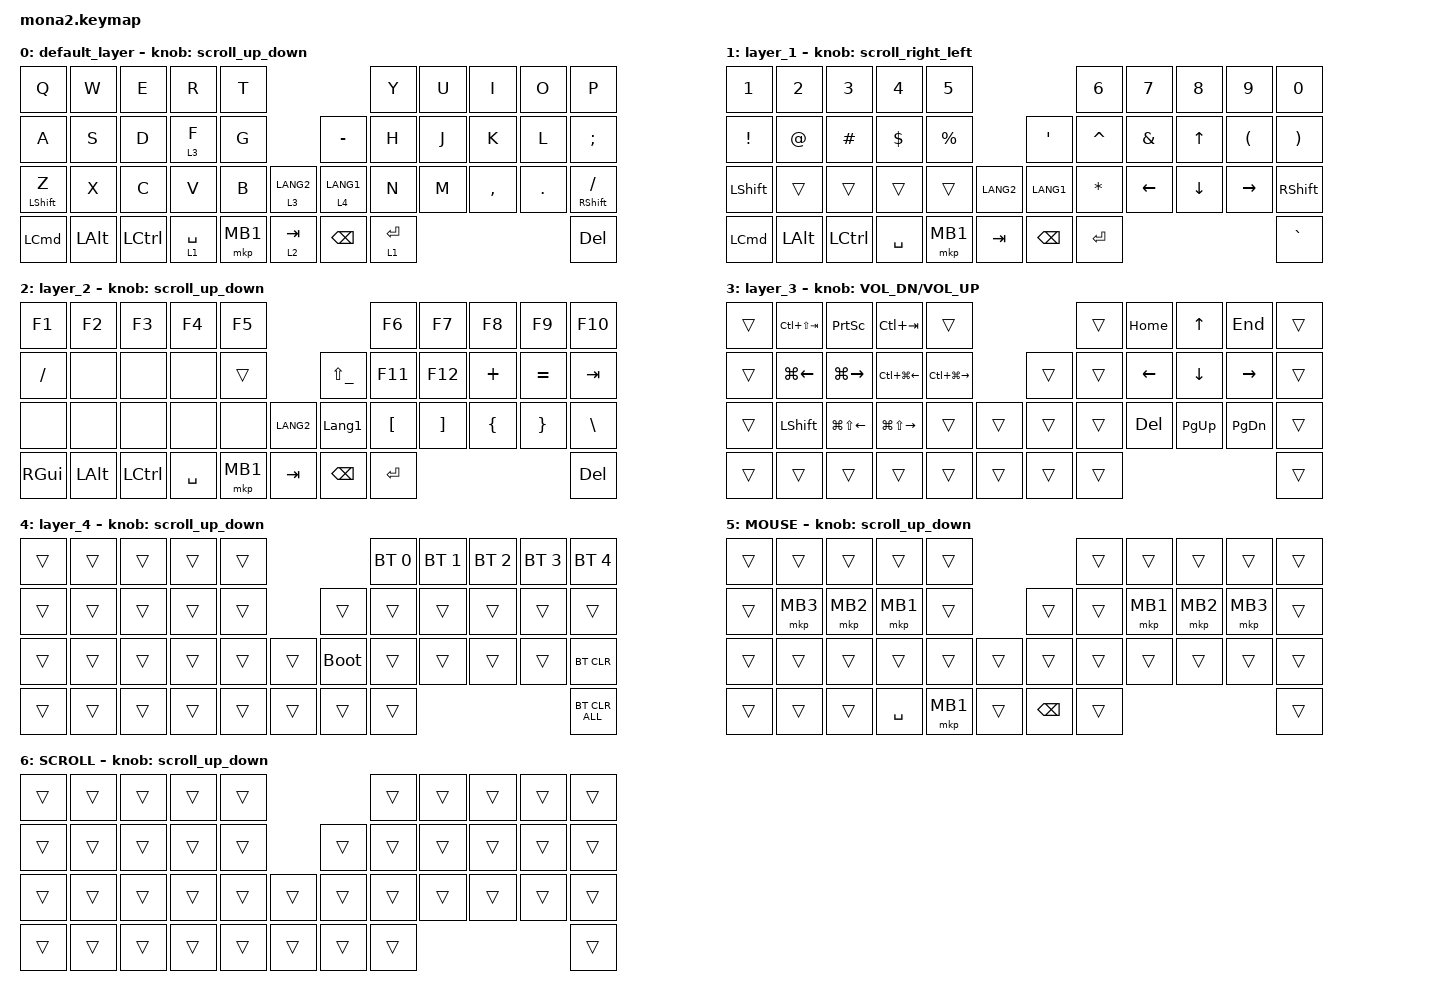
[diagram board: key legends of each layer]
#include <input/processors.dtsi>
#include <dt-bindings/zmk/input_transform.h>
#include <zephyr/dt-bindings/input/input-event-codes.h>
#include <behaviors.dtsi>
#include <dt-bindings/zmk/bt.h>
#include <dt-bindings/zmk/keys.h>
#include <dt-bindings/zmk/pointing.h>

#define ZMK_POINTING_DEFAULT_SCRL_VAL 100
#define MOUSE 5
#define SCROLL 6

&mt {
    flavor = "balanced";
    quick-tap-ms = <0>;
};

&lt {
    quick-tap-ms = <300>;
    flavor = "balanced";
};

/ {
    combos {
        compatible = "zmk,combos";

        layer4_ESC {
            bindings = <&kp ESC>;
            key-positions = <0 1>;
        };

        mb-2 {
            bindings = <&mkp MB2>;
            key-positions = <38 26>;
        };
    };

    macros {
        to_layer_0: to_layer_0 {
            compatible = "zmk,behavior-macro-one-param";
            #binding-cells = <1>;
            bindings = <&to 0 &macro_param_1to1 &kp MACRO_PLACEHOLDER>;
            label = "TO_LAYER_0";
        };
    };

    behaviors {
        lt_to_layer_0: lt_to_layer_0 {
            compatible = "zmk,behavior-hold-tap";
            label = "LAYER_TAP_TO_0";
            bindings = <&mo>, <&to_layer_0>;

            #binding-cells = <2>;
            tapping-term-ms = <200>;
        };

        scroll_up_down: mouse_wheel_up_down {
            compatible = "zmk,behavior-sensor-rotate";
            #sensor-binding-cells = <0>;
            bindings = <&msc SCRL_DOWN>, <&msc SCRL_UP>;

            tap-ms = <20>;
        };

        scroll_right_left: mouse_wheel_right_left {
            compatible = "zmk,behavior-sensor-rotate";
            #sensor-binding-cells = <0>;
            bindings = <&msc SCRL_LEFT>, <&msc SCRL_RIGHT>;

            tap-ms = <20>;
        };
    };

    keymap {
        compatible = "zmk,keymap";

        default_layer {
            bindings = <
&kp Q             &kp W         &kp E             &kp R        &kp T                                   &kp Y      &kp U  &kp I      &kp O    &kp P
&kp A             &kp S         &kp D             &lt 3 F      &kp G                    &kp MINUS      &kp H      &kp J  &kp K      &kp L    &kp SEMICOLON
&mt LEFT_SHIFT Z  &kp X         &kp C             &kp V        &kp B     &lt 3 LANG2    &lt 4 LANG1    &kp N      &kp M  &kp COMMA  &kp DOT  &mt RIGHT_SHIFT SLASH
&kp LEFT_COMMAND  &kp LEFT_ALT  &kp LEFT_CONTROL  &lt 1 SPACE  &mkp MB1  &lt 2 TAB      &kp BACKSPACE  &lt 1 RET                             &kp DELETE
            >;

            sensor-bindings = <&scroll_up_down>;
        };

        layer_1 {
            bindings = <
&kp NUMBER_1      &kp NUMBER_2  &kp NUMBER_3      &kp NUMBER_4  &kp NUMBER_5                              &kp NUMBER_6  &kp NUMBER_7   &kp NUMBER_8  &kp NUMBER_9          &kp NUMBER_0
&kp EXCLAMATION   &kp AT        &kp HASH          &kp DOLLAR    &kp PERCENT                &kp SQT        &kp CARET     &kp AMPERSAND  &kp UP_ARROW  &kp LEFT_PARENTHESIS  &kp RIGHT_PARENTHESIS
&kp LEFT_SHIFT    &trans        &trans            &trans        &trans        &kp LANG2    &kp LANG1      &kp ASTERISK  &kp LEFT       &kp DOWN      &kp RIGHT             &kp RIGHT_SHIFT
&kp LEFT_COMMAND  &kp LEFT_ALT  &kp LEFT_CONTROL  &kp SPACE     &mkp MB1      &kp TAB      &kp BACKSPACE  &kp RET                                                          &kp GRAVE
            >;

            sensor-bindings = <&scroll_right_left>;
        };

        layer_2 {
            bindings = <
&kp F1    &kp F2    &kp F3     &kp F4     &kp F5                                     &kp F6    &kp F7    &kp F8    &kp F9     &kp F10
&kp FSLH  &none     &none      &none      &trans                 &kp LS(UNDERSCORE)  &kp F11   &kp F12   &kp PLUS  &kp EQUAL  &kp TAB
&none     &none     &none      &none      &none     &kp LANG2    &kp LANGUAGE_1      &kp LBKT  &kp RBKT  &kp LBRC  &kp RBRC   &kp BSLH
&kp RGUI  &kp LALT  &kp LCTRL  &kp SPACE  &mkp MB1  &kp TAB      &kp BSPC            &kp RET                                  &kp DEL
            >;

            sensor-bindings = <&scroll_up_down>;
        };

        layer_3 {
            bindings = <
&trans  &kp LC(LS(TAB))     &kp PRINTSCREEN         &kp LC(TAB)              &trans                                     &trans  &kp HOME        &kp UP_ARROW    &kp END          &trans
&trans  &kp LG(LEFT_ARROW)  &kp LG(RIGHT_ARROW)     &kp LC(LG(LEFT_ARROW))   &kp LC(LG(RIGHT_ARROW))            &trans  &trans  &kp LEFT_ARROW  &kp DOWN_ARROW  &kp RIGHT_ARROW  &trans
&trans  &kp LEFT_SHIFT      &kp LG(LS(LEFT_ARROW))  &kp LG(LS(RIGHT_ARROW))  &trans                   &trans    &trans  &trans  &kp DELETE      &kp PAGE_UP     &kp PAGE_DOWN    &trans
&trans  &trans              &trans                  &trans                   &trans                   &trans    &trans  &trans                                                   &trans
            >;

            sensor-bindings = <&inc_dec_kp C_VOL_DN C_VOL_UP>;
        };

        layer_4 {
            bindings = <
&trans  &trans  &trans  &trans  &trans                         &bt BT_SEL 0  &bt BT_SEL 1  &bt BT_SEL 2  &bt BT_SEL 3  &bt BT_SEL 4
&trans  &trans  &trans  &trans  &trans            &trans       &trans        &trans        &trans        &trans        &trans
&trans  &trans  &trans  &trans  &trans  &trans    &bootloader  &trans        &trans        &trans        &trans        &bt BT_CLR
&trans  &trans  &trans  &trans  &trans  &trans    &trans       &trans                                                  &bt BT_CLR_ALL
            >;

            sensor-bindings = <&scroll_up_down>;
        };

        MOUSE {
            bindings = <
&trans  &trans    &trans    &trans     &trans                             &trans  &trans    &trans    &trans    &trans
&trans  &mkp MB3  &mkp MB2  &mkp MB1   &trans              &trans         &trans  &mkp MB1  &mkp MB2  &mkp MB3  &trans
&trans  &trans    &trans    &trans     &trans    &trans    &trans         &trans  &trans    &trans    &trans    &trans
&trans  &trans    &trans    &kp SPACE  &mkp MB1  &trans    &kp BACKSPACE  &trans                                &trans
            >;

            sensor-bindings = <&scroll_up_down>;
        };

        SCROLL {
            bindings = <
&trans  &trans  &trans  &trans  &trans                    &trans  &trans  &trans  &trans  &trans
&trans  &trans  &trans  &trans  &trans            &trans  &trans  &trans  &trans  &trans  &trans
&trans  &trans  &trans  &trans  &trans  &trans    &trans  &trans  &trans  &trans  &trans  &trans
&trans  &trans  &trans  &trans  &trans  &trans    &trans  &trans                          &trans
            >;

            sensor-bindings = <&scroll_up_down>;
        };
    };
};
